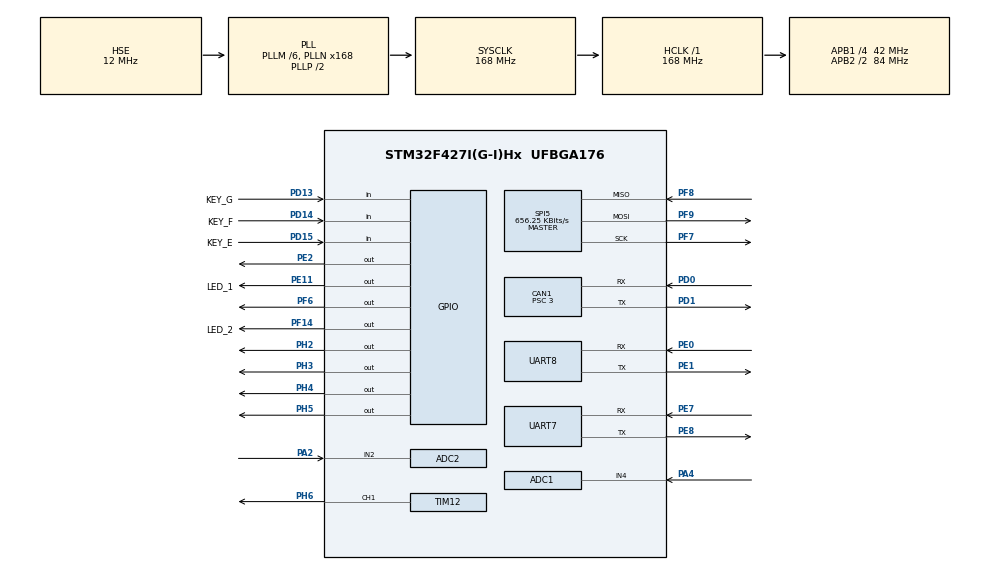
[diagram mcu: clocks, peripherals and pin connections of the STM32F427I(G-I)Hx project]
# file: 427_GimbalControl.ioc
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ADC1.Channel-0\#ChannelRegularConversion=ADC_CHANNEL_4
ADC1.NbrOfConversionFlag=1
ADC1.Rank-0\#ChannelRegularConversion=1
ADC1.SamplingTime-0\#ChannelRegularConversion=ADC_SAMPLETIME_3CYCLES
ADC1.master=1
ADC2.Channel-0\#ChannelRegularConversion=ADC_CHANNEL_2
ADC2.NbrOfConversionFlag=1
ADC2.Rank-0\#ChannelRegularConversion=1
ADC2.SamplingTime-0\#ChannelRegularConversion=ADC_SAMPLETIME_3CYCLES
CAN1.ABOM=ENABLE
CAN1.BS1=CAN_BS1_9TQ
CAN1.BS2=CAN_BS2_4TQ
CAN1.CalculateTimeQuantum=71.42857142857143
CAN1.Prescaler=3
Dma.Request0=UART7_RX
Dma.Request1=UART8_RX
Dma.UART7_RX.0.Direction=DMA_PERIPH_TO_MEMORY
Dma.UART7_RX.0.FIFOMode=DMA_FIFOMODE_DISABLE
Dma.UART7_RX.0.Instance=DMA1_Stream3
Dma.UART7_RX.0.MemDataAlignment=DMA_MDATAALIGN_BYTE
Dma.UART7_RX.0.MemInc=DMA_MINC_ENABLE
Dma.UART7_RX.0.Mode=DMA_CIRCULAR
Dma.UART7_RX.0.PeriphDataAlignment=DMA_PDATAALIGN_BYTE
Dma.UART7_RX.0.PeriphInc=DMA_PINC_DISABLE
Dma.UART7_RX.0.Priority=DMA_PRIORITY_LOW
Dma.UART8_RX.1.Direction=DMA_PERIPH_TO_MEMORY
Dma.UART8_RX.1.FIFOMode=DMA_FIFOMODE_DISABLE
Dma.UART8_RX.1.Instance=DMA1_Stream6
Dma.UART8_RX.1.MemDataAlignment=DMA_MDATAALIGN_BYTE
Dma.UART8_RX.1.MemInc=DMA_MINC_ENABLE
Dma.UART8_RX.1.Mode=DMA_CIRCULAR
Dma.UART8_RX.1.PeriphDataAlignment=DMA_PDATAALIGN_BYTE
Dma.UART8_RX.1.PeriphInc=DMA_PINC_DISABLE
Dma.UART8_RX.1.Priority=DMA_PRIORITY_LOW
FREERTOS.Tasks01=defaultTask,-3,256,StartDefaultTask,Default,NULL,Dynamic,NULL,NULL;DX35Task,-3,256,sick_task,As weak,NULL,Dynamic,NULL,NULL;GimbalTask,-3,256,gimbal_task,As weak,NULL,Dynamic,NULL,NULL;MainTask,-3,512,main_task,As weak,NULL,Dynamic,NULL,NULL;InfoHandleTask,-3,512,info_handle_task,As weak,NULL,Dynamic,NULL,NULL
FREERTOS.configCHECK_FOR_STACK_OVERFLOW=1
Mcu.Family=STM32F4
Mcu.Name=STM32F427I(G-I)Hx
Mcu.Package=UFBGA176
NVIC.CAN1_RX0_IRQn=true\:5\:0\:false\:false\:true\:true\:true\:true
NVIC.CAN1_TX_IRQn=true\:5\:0\:false\:false\:true\:true\:true\:true
NVIC.DMA1_Stream3_IRQn=true\:5\:0\:false\:false\:true\:true\:false\:true
NVIC.DMA1_Stream6_IRQn=true\:5\:0\:false\:false\:true\:true\:false\:true
NVIC.PriorityGroup=NVIC_PRIORITYGROUP_4
NVIC.UART7_IRQn=true\:5\:0\:false\:false\:true\:true\:true\:true
NVIC.UART8_IRQn=true\:5\:0\:false\:false\:true\:true\:true\:true
PA2.Signal=ADCx_IN2
PA4.Signal=ADCx_IN4
PD0.Mode=Master
PD0.Signal=CAN1_RX
PD1.Mode=Master
PD1.Signal=CAN1_TX
PD13.GPIO_Label=KEY_G
PD13.GPIO_PuPd=GPIO_PULLUP
PD13.Signal=GPIO_Input
PD14.GPIO_Label=KEY_F
PD14.GPIO_PuPd=GPIO_PULLUP
PD14.Signal=GPIO_Input
PD15.GPIO_Label=KEY_E
PD15.GPIO_PuPd=GPIO_PULLUP
PD15.Signal=GPIO_Input
PE0.Mode=Asynchronous
PE0.Signal=UART8_RX
PE1.Mode=Asynchronous
PE1.Signal=UART8_TX
PE11.GPIO_Label=LED_1
PE11.PinState=GPIO_PIN_SET
PE11.Signal=GPIO_Output
PE2.Signal=GPIO_Output
PE7.Mode=Asynchronous
PE7.Signal=UART7_RX
PE8.Mode=Asynchronous
PE8.Signal=UART7_TX
PF14.GPIO_Label=LED_2
PF14.Signal=GPIO_Output
PF6.Signal=GPIO_Output
PF7.Mode=Full_Duplex_Master
PF7.Signal=SPI5_SCK
PF8.Mode=Full_Duplex_Master
PF8.Signal=SPI5_MISO
PF9.Mode=Full_Duplex_Master
PF9.Signal=SPI5_MOSI
PH0/OSC_IN.Mode=HSE-External-Oscillator
PH0/OSC_IN.Signal=RCC_OSC_IN
PH1/OSC_OUT.Mode=HSE-External-Oscillator
PH1/OSC_OUT.Signal=RCC_OSC_OUT
PH2.Signal=GPIO_Output
PH3.Signal=GPIO_Output
PH4.Signal=GPIO_Output
PH5.Signal=GPIO_Output
PH6.Signal=S_TIM12_CH1
ProjectManager.HeapSize=0x200
ProjectManager.StackSize=0x400
ProjectManager.TargetToolchain=MDK-ARM V5
RCC.48MHZClocksFreq_Value=84000000
RCC.AHBFreq_Value=168000000
RCC.APB1CLKDivider=RCC_HCLK_DIV4
RCC.APB1Freq_Value=42000000
RCC.APB1TimFreq_Value=84000000
RCC.APB2CLKDivider=RCC_HCLK_DIV2
RCC.APB2Freq_Value=84000000
RCC.APB2TimFreq_Value=168000000
RCC.CortexFreq_Value=168000000
RCC.HCLKFreq_Value=168000000
RCC.HSE_VALUE=12000000
RCC.HSI_VALUE=16000000
RCC.LSE_VALUE=32768
RCC.PLLM=6
RCC.PLLN=168
RCC.PLLSourceVirtual=RCC_PLLSOURCE_HSE
RCC.SYSCLKFreq_VALUE=168000000
RCC.SYSCLKSource=RCC_SYSCLKSOURCE_PLLCLK
RCC.VCOOutputFreq_Value=336000000
SH.ADCx_IN2.0=ADC2_IN2,IN2
SH.ADCx_IN4.0=ADC1_IN4,IN4
SH.S_TIM12_CH1.0=TIM12_CH1,PWM Generation1 CH1
SPI5.BaudRatePrescaler=SPI_BAUDRATEPRESCALER_128
SPI5.CalculateBaudRate=656.25 KBits/s
SPI5.Direction=SPI_DIRECTION_2LINES
SPI5.Mode=SPI_MODE_MASTER
SPI5.VirtualType=VM_MASTER
TIM12.Channel-PWM\ Generation1\ CH1=TIM_CHANNEL_1
TIM12.Period=500
TIM12.Prescaler=41
UART7.VirtualMode=Asynchronous
UART8.VirtualMode=Asynchronous
VP_FREERTOS_VS_CMSIS_V1.Mode=CMSIS_V1
board=custom

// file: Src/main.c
/* USER CODE BEGIN Header */
/**
  ******************************************************************************
  * @file           : main.c
  * @brief          : Main program body
  ******************************************************************************
  * @attention
  *
  * <h2><center>&copy; Copyright (c) 2019 STMicroelectronics.
  * All rights reserved.</center></h2>
  *
  * This software component is licensed by ST under Ultimate Liberty license
  * SLA0044, the "License"; You may not use this file except in compliance with
  * the License. You may obtain a copy of the License at:
  *                             www.st.com/SLA0044
  *
  ******************************************************************************
  */
/* USER CODE END Header */

#include "main.h"
#include "cmsis_os.h"
#include "adc.h"
#include "can.h"
#include "dma.h"
#include "spi.h"
#include "tim.h"
#include "usart.h"
#include "gpio.h"

/* USER CODE BEGIN Includes */
#include "bsp_adc.h"
#include "bsp_can.h"
#include "bsp_uart.h"
#include "bsp_io.h"
#include "STMGood.h"
#include "Mpu6500.h"
#include "sick_task.h"
#include "gimbal_task.h"
#include "DR16_decode.h"
/* USER CODE END Includes */

void SystemClock_Config(void);
void MX_FREERTOS_Init(void);

int main(void)
{

  /* MCU Configuration--------------------------------------------------------*/

  /* Reset of all peripherals, Initializes the Flash interface and the Systick. */
  HAL_Init();

  /* Configure the system clock */
  SystemClock_Config();

  /* Initialize all configured peripherals */
  MX_GPIO_Init();
  MX_DMA_Init();
  MX_ADC1_Init();
  MX_ADC2_Init();
  MX_CAN1_Init();
  MX_TIM12_Init();
  MX_SPI5_Init();
  MX_UART7_Init();
  MX_UART8_Init();
  /* USER CODE BEGIN 2 */
  //hardware device initialize  :
  HAL_TIM_PWM_Start(&htim12, TIM_CHANNEL_1);
  mpu_device_Init();
  uart8_device_init();
  uart7_device_init();
  can_device_init();
  can_receive_start();
  vcc_out_init();
  //software parameter initialize  :

  gimbal_param_init();
  HAL_Delay(4000);
  busser_task();
  /* USER CODE END 2 */

  /* Call init function for freertos objects (in freertos.c) */
  MX_FREERTOS_Init();

  /* Start scheduler */
  osKernelStart();

  /* We should never get here as control is now taken by the scheduler */

  /* Infinite loop */
  while (1)
  {

  }
}

void SystemClock_Config(void)
{
  RCC_OscInitTypeDef RCC_OscInitStruct = {0};
  RCC_ClkInitTypeDef RCC_ClkInitStruct = {0};

  /** Configure the main internal regulator output voltage
  */
  __HAL_RCC_PWR_CLK_ENABLE();
  __HAL_PWR_VOLTAGESCALING_CONFIG(PWR_REGULATOR_VOLTAGE_SCALE1);
  /** Initializes the CPU, AHB and APB busses clocks
  */
  RCC_OscInitStruct.OscillatorType = RCC_OSCILLATORTYPE_HSE;
  RCC_OscInitStruct.HSEState = RCC_HSE_ON;
  RCC_OscInitStruct.PLL.PLLState = RCC_PLL_ON;
  RCC_OscInitStruct.PLL.PLLSource = RCC_PLLSOURCE_HSE;
  RCC_OscInitStruct.PLL.PLLM = 6;
  RCC_OscInitStruct.PLL.PLLN = 168;
  RCC_OscInitStruct.PLL.PLLP = RCC_PLLP_DIV2;
  RCC_OscInitStruct.PLL.PLLQ = 4;
  if (HAL_RCC_OscConfig(&RCC_OscInitStruct) != HAL_OK)
  {
    Error_Handler();
  }
  /** Initializes the CPU, AHB and APB busses clocks
  */
  RCC_ClkInitStruct.ClockType = RCC_CLOCKTYPE_HCLK|RCC_CLOCKTYPE_SYSCLK
                              |RCC_CLOCKTYPE_PCLK1|RCC_CLOCKTYPE_PCLK2;
  RCC_ClkInitStruct.SYSCLKSource = RCC_SYSCLKSOURCE_PLLCLK;
  RCC_ClkInitStruct.AHBCLKDivider = RCC_SYSCLK_DIV1;
  RCC_ClkInitStruct.APB1CLKDivider = RCC_HCLK_DIV4;
  RCC_ClkInitStruct.APB2CLKDivider = RCC_HCLK_DIV2;

  if (HAL_RCC_ClockConfig(&RCC_ClkInitStruct, FLASH_LATENCY_5) != HAL_OK)
  {
    Error_Handler();
  }
}

void Error_Handler(void)
{
}

/************************ (C) COPYRIGHT STMicroelectronics *****END OF FILE****/

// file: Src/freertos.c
/* USER CODE BEGIN Header */
/**
  ******************************************************************************
  * File Name          : freertos.c
  * Description        : Code for freertos applications
  ******************************************************************************
  * @attention
  *
  * <h2><center>&copy; Copyright (c) 2019 STMicroelectronics.
  * All rights reserved.</center></h2>
  *
  * This software component is licensed by ST under Ultimate Liberty license
  * SLA0044, the "License"; You may not use this file except in compliance with
  * the License. You may obtain a copy of the License at:
  *                             www.st.com/SLA0044
  *
  ******************************************************************************
  */
/* USER CODE END Header */

#include "FreeRTOS.h"
#include "task.h"
#include "main.h"
#include "cmsis_os.h"

/* USER CODE BEGIN Includes */
#include "bsp_adc.h"
#include "bsp_can.h"
#include "bsp_uart.h"
#include "STMGood.h"

#include "sick_task.h"
#include "gimbal_task.h"
#include "imu_handle.h"
#include "main_task.h"
#include "chassis_ms_decode.h"
/* USER CODE END Includes */

osThreadId defaultTaskHandle;
osThreadId DX35TaskHandle;
osThreadId GimbalTaskHandle;
osThreadId MainTaskHandle;
osThreadId InfoHandleTaskHandle;

void StartDefaultTask(void const * argument);
void sick_task(void const * argument);
void gimbal_task(void const * argument);
void main_task(void const * argument);
void info_handle_task(void const * argument);

void MX_FREERTOS_Init(void); /* (MISRA C 2004 rule 8.1) */

/* Hook prototypes */
void vApplicationStackOverflowHook(xTaskHandle xTask, signed char *pcTaskName);

/* USER CODE BEGIN 4 */
__weak void vApplicationStackOverflowHook(xTaskHandle xTask, signed char *pcTaskName)
{
   /* Run time stack overflow checking is performed if
   configCHECK_FOR_STACK_OVERFLOW is defined to 1 or 2. This hook function is
   called if a stack overflow is detected. */
}
/* USER CODE END 4 */

void MX_FREERTOS_Init(void) {

  /* Create the thread(s) */
  /* definition and creation of defaultTask */
  osThreadDef(defaultTask, StartDefaultTask, osPriorityIdle, 0, 256);
  defaultTaskHandle = osThreadCreate(osThread(defaultTask), NULL);

  /* definition and creation of DX35Task */
  osThreadDef(DX35Task, sick_task, osPriorityIdle, 0, 256);
  DX35TaskHandle = osThreadCreate(osThread(DX35Task), NULL);

  /* definition and creation of GimbalTask */
  osThreadDef(GimbalTask, gimbal_task, osPriorityIdle, 0, 256);
  GimbalTaskHandle = osThreadCreate(osThread(GimbalTask), NULL);

  /* definition and creation of MainTask */
  osThreadDef(MainTask, main_task, osPriorityIdle, 0, 512);
  MainTaskHandle = osThreadCreate(osThread(MainTask), NULL);

  /* definition and creation of InfoHandleTask */
  osThreadDef(InfoHandleTask, info_handle_task, osPriorityIdle, 0, 1024);
  InfoHandleTaskHandle = osThreadCreate(osThread(InfoHandleTask), NULL);

}

/* USER CODE BEGIN Header_StartDefaultTask */
extern  rc_info_t   rc;
extern int bullet_number,lazer_cnt,start_cnt;
extern location_t location_ms;
extern float limit_distance,fric_speed;
extern float Laser_Right,Laser_Left;
/**
  * @brief  Function implementing the defaultTask thread.
  * @param  argument: Not used
  * @retval None
  */
/* USER CODE END Header_StartDefaultTask */
void StartDefaultTask(void const * argument)
{

  /* USER CODE BEGIN StartDefaultTask */
  /* Infinite loop */
  for(;;)
  {
//  printf("location_ms.distance_E = %.3f\r\n",location_ms.distance_E);
//	printf("gimbal_yaw.Target_angle[2] = %.2f\r\n",gimbal_yaw.Target_angle[2]);
//	printf("pid_fric.errNow = %.3f\r\n",pid_fric.errNow);
	#if  0
	printf("path_flag = %d\r\n",send_chassis.path_flag);
	printf("robot_id = %d\r\n",send_chassis.robot_id);
	printf("state_flag = %d\r\n",send_chassis.state_flag);
	printf("start_flag = %d\r\n",location_ms.start_flag);
	printf("color_flag = %d\r\n",location_ms.color_flag);
	printf("target_flag = %d\r\n",location_ms.target_flag);
	printf("lazer_cnt = %d\r\n",lazer_cnt);
	printf("fric_data.speed = %d\r\n",fric_data.speed);
	printf("fric_data.number = %d\r\n",fric_data.number);
	printf("gimbal_yaw.Target_angle[2] = %.2f\r\n",gimbal_yaw.Target_angle[2]);
	printf("gimbal_yaw.Target_angle[1] = %.2f\r\n",gimbal_yaw.Target_angle[1]);
	printf("gimbal_yaw.Target_angle[0] = %.2f\r\n",gimbal_yaw.Target_angle[0]);
	printf("limit_distance = %.2f\r\n",limit_distance);
	#endif
	#if 0
	printf("lazer_data.left_dis = %.2f\r\n",Laser_Left);
	printf("moto_fric.speed_rpm = %d\r\n",fric_data.speed);
	printf("pid_fric.errNow = %.3f\r\n",pid_fric.errNow);
////
////	printf("CURRENT = %.2f\r\n",pid_yaw_in.ctrOut);
   #endif
	#if 0
//	printf("LaserBack_Error = %.2f\r\n",lazer_data.dis_error);
	printf("location_ms.distance_A = %.2f\r\n",location_ms.distance_A );
	printf("location_ms.distance_B = %.2f\r\n",location_ms.distance_B );
	printf("location_ms.distance_C = %.2f\r\n",location_ms.distance_C );
	printf("location_ms.distance_D = %.2f\r\n",location_ms.distance_D );
	printf("location_ms.distance_E = %.2f\r\n",location_ms.distance_E );
   #endif
	#if 1
//   printf("launch_flag = %d\r\n",logic_data.launch_flag);
//	printf("yaw_out.errNow = %.2f\r\n",pid_yaw_out.errNow);
	printf("ldeal_angle= %.2f\r\n",logic_data.deal_angle);
	printf("pos_x = %.2f\r\n",(location_ms.pos_x+124*sin(location_ms.zangle*3.1415926f/180)));
	printf("logic_data.pos_x = %.2f\r\n",logic_data.pos_x);
	printf("pos_y = %.2f\r\n",(location_ms.pos_y-124*cos(location_ms.zangle*3.1415926f/180)));
	printf("logic_data.pos_y = %.2f\r\n",logic_data.pos_y);
    printf("calibration_flag = %d\r\n",logic_data.calibration_flag);

    printf("circular_flag = %d\r\n",logic_data.circular_flag );
	printf("start_cnt = %d\r\n",logic_data.start_cnt);
//	printf("state_flag = %d\r\n",send_chassis.state_flag);
	printf("location_ms.state_flag = %d\r\n",location_ms.state_flag);
	printf("fric_data.speed = %d\r\n",fric_data.speed);
	printf("lazer_data.left_dis = %.2f\r\n",Laser_Left);
	printf("lazer_data.right_dis = %.2f\r\n",Laser_Right);
	printf("limit_distance = %.2f\r\n",limit_distance);
	printf("gimbal_yaw.total_angle = %.2f\r\n",gimbal_yaw.total_angle);
	printf("location_ms.distance_E = %.2f\r\n",location_ms.distance_E );
	printf("angle_middle= %.2f\r\n",gimbal_yaw.Target_angle[2]);

   #endif
	#if 0

	printf("color_flag = %d\r\n",logic_data.color_flag);
	printf("state_flag = %d\r\n",location_ms.state_flag);
	printf("gimbal_yaw.target = %.2f\r\n",gimbal_yaw.target);
    printf("send_chassis.state_flag = %d\r\n",send_chassis.state_flag);
	printf("launch_flag = %d\r\n",logic_data.launch_flag);
	printf("location_ms.start_flag = %d\r\n",location_ms.start_flag);
		printf("start_flag = %d\r\n",logic_data.start_flag);
		printf("limit_distance = %.2f\r\n",limit_distance);
			printf("lazer_data.left_dis = %.2f\r\n",Laser_Left);
	printf("lazer_data.right_dis = %.2f\r\n",Laser_Right);
   #endif
	#if 0
	printf("moto_yaw.ecd = %d\r\n",moto_yaw.ecd);
	printf("gimbal_yaw.target = %.2f\r\n",gimbal_yaw.target);
	printf("gimbal_yaw.total_angle = %.2f\r\n",gimbal_yaw.total_angle);
	printf("yaw_out.errNow = %.2f\r\n",pid_yaw_out.errNow);
	printf("OUTCRTOUT = %.2f\r\n",pid_yaw_out.ctrOut);
	printf("gimbal_yaw.speed_rpm = %.3f\r\n",gimbal_yaw.speed_rpm);
	printf("yaw_in.errNow = %.2f\r\n",pid_yaw_in.errNow);
	printf("CURRENT = %.2f\r\n",pid_yaw_in.ctrOut);
	#endif
	#if 0
	printf("max_error = %.2f\r\n",max_error);
	printf("yaw_out.errNow = %.2f\r\n",pid_sick_out.errNow);
	printf("OUTCRTOUT = %.2f\r\n",pid_sick_out.ctrOut);
	printf("gimbal_yaw.speed_rpm = %.3f\r\n",gimbal_yaw.speed_rpm);
	printf("yaw_in.errNow = %.2f\r\n",pid_yaw_in.errNow);
	printf("CURRENT = %.2f\r\n",pid_yaw_in.ctrOut);
	#endif
	#if 0
	printf("moto_fric.speed_rpm = %d\r\n",moto_fric.speed_rpm);
	printf("pid_fric.errNow = %.3f\r\n",pid_fric.errNow);
	printf("pid_fric.ctrOut = %.3f\r\n",pid_fric.ctrOut);
   #endif
	HAL_GPIO_TogglePin(LED_1_GPIO_Port, LED_1_Pin);
	HAL_GPIO_TogglePin(LED_2_GPIO_Port, LED_2_Pin);
    osDelay(200);
  }
  /* USER CODE END StartDefaultTask */
}

__weak void sick_task(void const * argument)
{
  for(;;)
  {
    osDelay(1);
  }
}

__weak void gimbal_task(void const * argument)
{
  for(;;)
  {
    osDelay(1);
  }
}

__weak void main_task(void const * argument)
{
  for(;;)
  {
    osDelay(1);
  }
}

__weak void info_handle_task(void const * argument)
{
  for(;;)
  {
    osDelay(1);
  }
}

/************************ (C) COPYRIGHT STMicroelectronics *****END OF FILE****/
